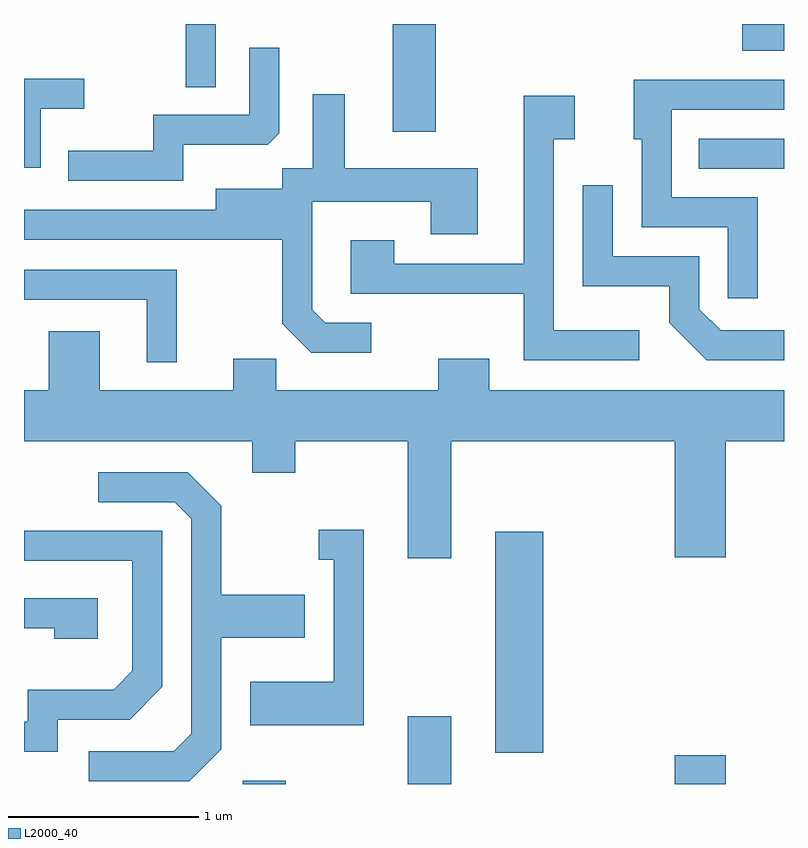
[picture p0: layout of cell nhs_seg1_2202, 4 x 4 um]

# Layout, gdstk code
import gdstk
lib = gdstk.Library(unit=1e-6, precision=1e-09)
def R(c, l, rs):  # rectangles x0, y0, x1, y1
    for r in rs: c.add(gdstk.rectangle(r[:2], r[2:], *l))
def P(c, l, *ps):  # polygons
    for p in ps: c.add(gdstk.Polygon(p, *l))
L2000_40 = (2000, 40)

nhs_seg1_2202 = lib.new_cell('nhs_seg1_2202')
R(nhs_seg1_2202, L2000_40, [(252.761,957.712,252.989,957.729), (253.631,957.712,253.859,958.069), (255.036,957.712,255.304,957.864), (254.091,957.876,254.344,959.039), (255.163,960.951,255.611,961.109), (253.551,961.146,253.779,961.712), (252.461,961.378,252.619,961.712), (255.391,961.571,255.611,961.712)])
P(nhs_seg1_2202, L2000_40, [(252.449,961.076),(252.894,961.076),(252.954,961.137),(252.954,961.588),(252.796,961.588),(252.796,961.234),(252.291,961.234),(252.291,961.044),(251.843,961.044),(251.843,960.886),(252.449,960.886)],
  [(251.699,961.266),(251.928,961.266),(251.928,961.424),(251.611,961.424),(251.611,960.956),(251.699,960.956)],
  [(255.474,960.799),(255.019,960.799),(255.019,961.261),(255.611,961.261),(255.611,961.419),(254.821,961.419),(254.821,961.106),(254.861,961.106),(254.861,960.641),(255.316,960.641),(255.316,960.268),(255.474,960.268)],
  [(253.438,960.139),(253.197,960.139),(253.129,960.207),(253.129,960.776),(253.751,960.776),(253.751,960.606),(253.999,960.606),(253.999,960.954),(253.299,960.954),(253.299,961.343),(253.131,961.343),(253.131,960.954),(252.971,960.954),(252.971,960.844),(252.621,960.844),(252.621,960.734),(251.611,960.734),(251.611,960.576),(252.971,960.576),(252.971,960.134),(253.124,959.981),(253.438,959.981)],
  [(254.848,960.099),(254.399,960.099),(254.399,961.106),(254.509,961.106),(254.509,961.334),(254.241,961.334),(254.241,960.449),(253.559,960.449),(253.559,960.574),(253.331,960.574),(253.331,960.291),(254.241,960.291),(254.241,959.941),(254.848,959.941)],
  [(255.611,960.099),(255.277,960.099),(255.164,960.212),(255.164,960.489),(254.709,960.489),(254.709,960.863),(254.551,960.863),(254.551,960.331),(255.006,960.331),(255.006,960.139),(255.204,959.941),(255.611,959.941)],
  [(252.414,960.419),(251.611,960.419),(251.611,960.261),(252.256,960.261),(252.256,959.933),(252.414,959.933)],
  [(253.859,959.516),(255.036,959.516),(255.036,958.906),(255.304,958.906),(255.304,959.516),(255.611,959.516),(255.611,959.784),(254.059,959.784),(254.059,959.949),(253.791,959.949),(253.791,959.784),(252.939,959.784),(252.939,959.949),(252.711,959.949),(252.711,959.784),(252.009,959.784),(252.009,960.094),(251.741,960.094),(251.741,959.784),(251.611,959.784),(251.611,959.516),(252.811,959.516),(252.811,959.351),(253.039,959.351),(253.039,959.516),(253.631,959.516),(253.631,958.901),(253.859,958.901)],
  [(252.649,957.894),(252.649,958.481),(253.089,958.481),(253.089,958.709),(252.649,958.709),(252.649,959.177),(252.472,959.354),(252.003,959.354),(252.003,959.196),(252.404,959.196),(252.491,959.109),(252.491,957.977),(252.399,957.884),(251.953,957.884),(251.953,957.726),(252.482,957.726)],
  [(253.399,959.049),(253.163,959.049),(253.163,958.891),(253.241,958.891),(253.241,958.249),(252.801,958.249),(252.801,958.021),(253.399,958.021)],
  [(251.789,958.051),(252.167,958.051),(252.339,958.224),(252.339,959.044),(251.611,959.044),(251.611,958.886),(252.181,958.886),(252.181,958.307),(252.084,958.209),(251.631,958.209),(251.631,958.039),(251.611,958.039),(251.611,957.881),(251.789,957.881)],
  [(251.999,958.689),(251.611,958.689),(251.611,958.531),(251.771,958.531),(251.771,958.476),(251.999,958.476)])

lib.write_gds('nhs_seg1_2202.gds')
